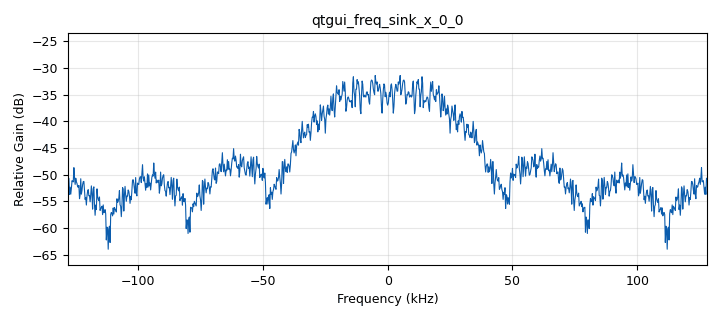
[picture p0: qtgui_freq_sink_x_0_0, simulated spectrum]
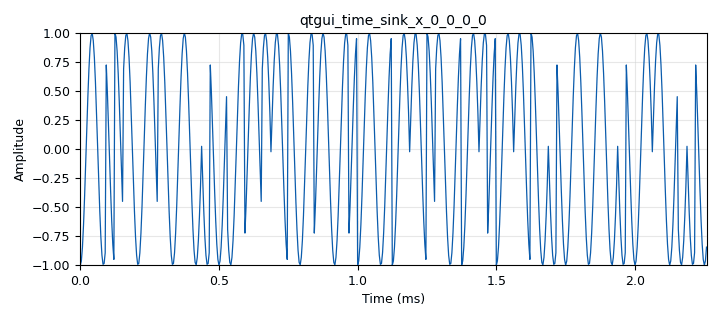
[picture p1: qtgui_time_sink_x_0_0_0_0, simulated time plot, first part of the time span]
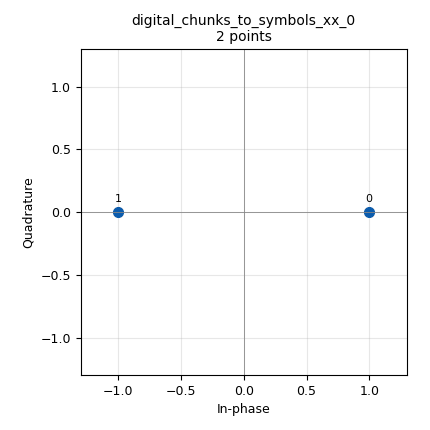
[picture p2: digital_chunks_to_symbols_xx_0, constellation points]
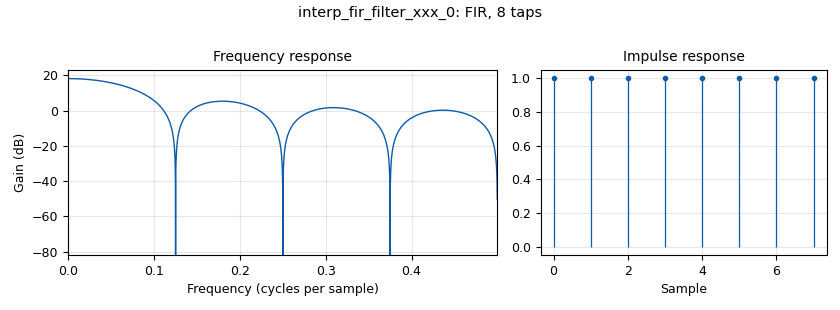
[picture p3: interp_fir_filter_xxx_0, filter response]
options:
  parameters:
    author: radiogis_director
    generate_options: qt_gui
    id: top_block
    output_language: python
    title: top_block
  states: {}

blocks:
- name: M
  id: variable
  parameters:
    value: len(tabla_de_verdad_constelacion )
  states: {}
- name: Rb
  id: variable
  parameters:
    value: Rs*bps
  states: {}
- name: Rs
  id: variable
  parameters:
    value: '32000'
  states: {}
- name: Sps
  id: variable
  parameters:
    value: '8'
  states: {}
- name: bps
  id: variable
  parameters:
    value: int(math.log(M,2))
  states: {}
- name: h
  id: variable
  parameters:
    value: '[1]*Sps'
  states: {}
- name: samp_rate
  id: variable
  parameters:
    value: Rs*Sps
  states: {}
- name: tabla_de_verdad_constelacion
  id: variable
  parameters:
    value: (1+0j,-1+0j)
  states: {}
- name: analog_noise_source_x_0
  id: analog_noise_source_x
  parameters:
    amp: '0.2'
    noise_type: analog.GR_GAUSSIAN
    seed: '0'
    type: complex
  states: {state: disabled}
- name: analog_noise_source_x_0_0
  id: analog_noise_source_x
  parameters:
    amp: '0.05'
    noise_type: analog.GR_GAUSSIAN
    seed: '0'
    type: float
  states: {state: disabled}
- name: analog_random_source_x_0
  id: analog_random_source_x
  parameters:
    max: '2'
    min: '0'
    num_samps: '1000'
    repeat: 'True'
    type: byte
  states: {}
- name: analog_sig_source_x_0
  id: analog_sig_source_x
  parameters:
    amp: '1'
    freq: '500000'
    offset: '0'
    phase: '0'
    samp_rate: samp_rate
    type: float
    waveform: analog.GR_COS_WAVE
  states: {}
- name: analog_sig_source_x_1
  id: analog_sig_source_x
  parameters:
    amp: '1'
    freq: '500000'
    offset: '0'
    phase: '0'
    samp_rate: samp_rate
    type: float
    waveform: analog.GR_SIN_WAVE
  states: {}
- name: blocks_add_xx_0
  id: blocks_add_xx
  parameters:
    type: complex
  states: {state: disabled}
- name: blocks_add_xx_0_1
  id: blocks_add_xx
  parameters:
    type: float
  states: {state: disabled}
- name: blocks_add_xx_1
  id: blocks_add_xx
  parameters:
    type: float
  states: {}
- name: blocks_complex_to_float_0
  id: blocks_complex_to_float
  parameters: {}
  states: {}
- name: blocks_multiply_xx_0
  id: blocks_multiply_xx
  parameters:
    type: float
  states: {}
- name: blocks_multiply_xx_1
  id: blocks_multiply_xx
  parameters:
    type: float
  states: {}
- name: blocks_pack_k_bits_bb_0
  id: blocks_pack_k_bits_bb
  parameters:
    k: '8'
  states: {}
- name: blocks_packed_to_unpacked_xx_0
  id: blocks_packed_to_unpacked_xx
  parameters:
    bits_per_chunk: bps
    endianness: gr.GR_MSB_FIRST
    type: byte
  states: {}
- name: blocks_throttle2_0_0
  id: blocks_throttle2
  parameters:
    samples_per_second: samp_rate
    type: float
  states: {state: disabled}
- name: digital_chunks_to_symbols_xx_0
  id: digital_chunks_to_symbols_xx
  parameters:
    dimension: '1'
    in_type: byte
    out_type: complex
    symbol_table: tabla_de_verdad_constelacion
  states: {}
- name: import_0
  id: import
  parameters:
    imports: import math
  states: {}
- name: interp_fir_filter_xxx_0
  id: interp_fir_filter_xxx
  parameters:
    interp: Sps
    taps: h
    type: ccf
  states: {}
- name: qtgui_const_sink_x_0
  id: qtgui_const_sink_x
  parameters:
    autoscale: 'True'
    grid: 'True'
    size: '1024'
    type: complex
  states: {state: disabled}
- name: qtgui_freq_sink_x_0
  id: qtgui_freq_sink_x
  parameters:
    average: '0.05'
    bw: samp_rate
    fc: '0'
    fftsize: '1024'
    norm_window: 'True'
    type: complex
  states: {state: disabled}
- name: qtgui_freq_sink_x_0_0
  id: qtgui_freq_sink_x
  parameters:
    autoscale: 'True'
    average: '0.05'
    bw: samp_rate
    fc: '0'
    fftsize: '1024'
    grid: 'True'
    type: float
  states: {}
- name: qtgui_time_sink_x_0
  id: qtgui_time_sink_x
  parameters:
    autoscale: 'True'
    grid: 'True'
    size: '1024'
    srate: samp_rate
    type: complex
  states: {state: disabled}
- name: qtgui_time_sink_x_0_0_0
  id: qtgui_time_sink_x
  parameters:
    size: '1024'
    srate: samp_rate
    type: float
  states: {state: disabled}
- name: qtgui_time_sink_x_0_0_0_0
  id: qtgui_time_sink_x
  parameters:
    size: '1024'
    srate: samp_rate
    type: float
  states: {}
- name: virtual_sink_0
  id: virtual_sink
  parameters:
    stream_id: p1
  states: {state: disabled}
- name: virtual_sink_0_0
  id: virtual_sink
  parameters:
    stream_id: p0
  states: {state: disabled}
- name: virtual_source_0
  id: virtual_source
  parameters:
    stream_id: p1
  states: {state: disabled}
- name: virtual_source_0_0
  id: virtual_source
  parameters:
    stream_id: p0
  states: {state: disabled}

connections:
- [analog_noise_source_x_0, '0', blocks_add_xx_0, '0']
- [analog_noise_source_x_0_0, '0', blocks_add_xx_0_1, '0']
- [analog_random_source_x_0, '0', blocks_pack_k_bits_bb_0, '0']
- [analog_sig_source_x_0, '0', blocks_multiply_xx_0, '0']
- [analog_sig_source_x_1, '0', blocks_multiply_xx_1, '1']
- [blocks_add_xx_0, '0', virtual_sink_0, '0']
- [blocks_add_xx_0_1, '0', qtgui_time_sink_x_0_0_0, '0']
- [blocks_add_xx_1, '0', blocks_throttle2_0_0, '0']
- [blocks_add_xx_1, '0', qtgui_freq_sink_x_0_0, '0']
- [blocks_add_xx_1, '0', qtgui_time_sink_x_0_0_0_0, '0']
- [blocks_complex_to_float_0, '0', blocks_multiply_xx_0, '1']
- [blocks_complex_to_float_0, '1', blocks_multiply_xx_1, '0']
- [blocks_multiply_xx_0, '0', blocks_add_xx_1, '0']
- [blocks_multiply_xx_1, '0', blocks_add_xx_1, '1']
- [blocks_pack_k_bits_bb_0, '0', blocks_packed_to_unpacked_xx_0, '0']
- [blocks_packed_to_unpacked_xx_0, '0', digital_chunks_to_symbols_xx_0, '0']
- [blocks_throttle2_0_0, '0', blocks_add_xx_0_1, '1']
- [digital_chunks_to_symbols_xx_0, '0', interp_fir_filter_xxx_0, '0']
- [interp_fir_filter_xxx_0, '0', blocks_add_xx_0, '1']
- [interp_fir_filter_xxx_0, '0', blocks_complex_to_float_0, '0']
- [interp_fir_filter_xxx_0, '0', virtual_sink_0_0, '0']
- [virtual_source_0, '0', qtgui_const_sink_x_0, '0']
- [virtual_source_0, '0', qtgui_time_sink_x_0, '0']
- [virtual_source_0_0, '0', qtgui_freq_sink_x_0, '0']

metadata:
  file_format: 1
  grc_version: 3.10.12.0
